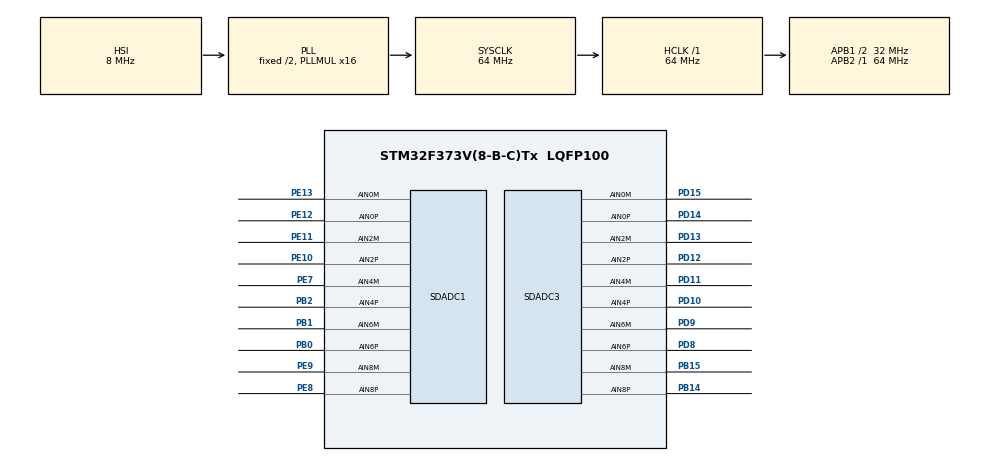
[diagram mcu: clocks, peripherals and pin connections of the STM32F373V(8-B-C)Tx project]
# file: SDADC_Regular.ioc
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FREERTOS.Tasks01=defaultTask,0,128,StartDefaultTask,Default,NULL,Dynamic,NULL,NULL
Mcu.Family=STM32F3
Mcu.Name=STM32F373V(8-B-C)Tx
Mcu.Package=LQFP100
NVIC.PriorityGroup=NVIC_PRIORITYGROUP_4
PA13.Mode=Serial_Wire
PA13.Signal=SYS_JTMS-SWDIO
PA14.Mode=Serial_Wire
PA14.Signal=SYS_JTCK-SWCLK
PB0.Mode=IN6-Differential
PB0.Signal=SDADC1_AIN6P
PB1.Mode=IN6-Differential
PB1.Signal=SDADC1_AIN6M
PB14.Mode=IN8-Differential
PB14.Signal=SDADC3_AIN8P
PB15.Mode=IN8-Differential
PB15.Signal=SDADC3_AIN8M
PB2.Mode=IN4-Differential
PB2.Signal=SDADC1_AIN4P
PD10.Mode=IN4-Differential
PD10.Signal=SDADC3_AIN4P
PD11.Mode=IN4-Differential
PD11.Signal=SDADC3_AIN4M
PD12.Mode=IN2-Differential
PD12.Signal=SDADC3_AIN2P
PD13.Mode=IN2-Differential
PD13.Signal=SDADC3_AIN2M
PD14.Mode=IN0-Differential
PD14.Signal=SDADC3_AIN0P
PD15.Mode=IN0-Differential
PD15.Signal=SDADC3_AIN0M
PD8.Mode=IN6-Differential
PD8.Signal=SDADC3_AIN6P
PD9.Mode=IN6-Differential
PD9.Signal=SDADC3_AIN6M
PE10.Mode=IN2-Differential
PE10.Signal=SDADC1_AIN2P
PE11.Mode=IN2-Differential
PE11.Signal=SDADC1_AIN2M
PE12.Mode=IN0-Differential
PE12.Signal=SDADC1_AIN0P
PE13.Mode=IN0-Differential
PE13.Signal=SDADC1_AIN0M
PE7.Mode=IN4-Differential
PE7.Signal=SDADC1_AIN4M
PE8.Mode=IN8-Differential
PE8.Signal=SDADC1_AIN8P
PE9.Mode=IN8-Differential
PE9.Signal=SDADC1_AIN8M
ProjectManager.HeapSize=0x200
ProjectManager.StackSize=0x400
ProjectManager.TargetToolchain=STM32CubeIDE
RCC.AHBFreq_Value=64000000
RCC.APB1CLKDivider=RCC_HCLK_DIV2
RCC.APB1Freq_Value=32000000
RCC.APB1TimFreq_Value=64000000
RCC.APB2Freq_Value=64000000
RCC.APB2TimFreq_Value=64000000
RCC.CortexFreq_Value=64000000
RCC.HCLKFreq_Value=64000000
RCC.HSE_VALUE=8000000
RCC.HSI_VALUE=8000000
RCC.LSE_VALUE=32768
RCC.PLLMUL=RCC_PLL_MUL16
RCC.SDADCPresc=RCC_SDADCSYSCLK_DIV16
RCC.SYSCLKFreq_VALUE=64000000
RCC.SYSCLKSource=RCC_SYSCLKSOURCE_PLLCLK
RCC.USBFreq_Value=64000000
SDADC1.ContinuousMode=SDADC_CONTINUOUS_CONV_ON
SDADC1.EnableRegularconversion=ENABLE
SDADC1.NbrOfConversionFlag=1
SDADC3.EnableRegularconversion=ENABLE
SDADC3.NbrOfConversionFlag=1
VP_FREERTOS_VS_CMSIS_V1.Mode=CMSIS_V1
VP_SDADC1_CONF0.Mode=ConfigZero
VP_SDADC3_CONF0.Mode=ConfigZero
board=custom

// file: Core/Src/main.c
/* USER CODE BEGIN Header */
/**
  ******************************************************************************
  * @file           : main.c
  * @brief          : Main program body
  ******************************************************************************
  * @attention
  *
  * <h2><center>&copy; Copyright (c) 2020 STMicroelectronics.
  * All rights reserved.</center></h2>
  *
  * This software component is licensed by ST under BSD 3-Clause license,
  * the "License"; You may not use this file except in compliance with the
  * License. You may obtain a copy of the License at:
  *                        opensource.org/licenses/BSD-3-Clause
  *
  ******************************************************************************
  */
/* USER CODE END Header */
#include "main.h"
#include "cmsis_os.h"
#include "sdadc.h"
#include "gpio.h"

void SystemClock_Config(void);
void MX_FREERTOS_Init(void);

int main(void)
{

  /* MCU Configuration--------------------------------------------------------*/

  /* Reset of all peripherals, Initializes the Flash interface and the Systick. */
  HAL_Init();

  /* Configure the system clock */
  SystemClock_Config();

  /* Initialize all configured peripherals */
  MX_GPIO_Init();
  MX_SDADC1_Init();
  MX_SDADC3_Init();

  /* Call init function for freertos objects (in freertos.c) */
  MX_FREERTOS_Init();
  /* Start scheduler */
  osKernelStart();

  /* We should never get here as control is now taken by the scheduler */
  /* Infinite loop */
  while (1)
  {

  }
}

void SystemClock_Config(void)
{
  RCC_OscInitTypeDef RCC_OscInitStruct = {0};
  RCC_ClkInitTypeDef RCC_ClkInitStruct = {0};
  RCC_PeriphCLKInitTypeDef PeriphClkInit = {0};

  /** Initializes the RCC Oscillators according to the specified parameters
  * in the RCC_OscInitTypeDef structure.
  */
  RCC_OscInitStruct.OscillatorType = RCC_OSCILLATORTYPE_HSI;
  RCC_OscInitStruct.HSIState = RCC_HSI_ON;
  RCC_OscInitStruct.HSICalibrationValue = RCC_HSICALIBRATION_DEFAULT;
  RCC_OscInitStruct.PLL.PLLState = RCC_PLL_ON;
  RCC_OscInitStruct.PLL.PLLSource = RCC_PLLSOURCE_HSI;
  RCC_OscInitStruct.PLL.PLLMUL = RCC_PLL_MUL16;
  if (HAL_RCC_OscConfig(&RCC_OscInitStruct) != HAL_OK)
  {
    Error_Handler();
  }
  /** Initializes the CPU, AHB and APB buses clocks
  */
  RCC_ClkInitStruct.ClockType = RCC_CLOCKTYPE_HCLK|RCC_CLOCKTYPE_SYSCLK
                              |RCC_CLOCKTYPE_PCLK1|RCC_CLOCKTYPE_PCLK2;
  RCC_ClkInitStruct.SYSCLKSource = RCC_SYSCLKSOURCE_PLLCLK;
  RCC_ClkInitStruct.AHBCLKDivider = RCC_SYSCLK_DIV1;
  RCC_ClkInitStruct.APB1CLKDivider = RCC_HCLK_DIV2;
  RCC_ClkInitStruct.APB2CLKDivider = RCC_HCLK_DIV1;

  if (HAL_RCC_ClockConfig(&RCC_ClkInitStruct, FLASH_LATENCY_2) != HAL_OK)
  {
    Error_Handler();
  }
  PeriphClkInit.PeriphClockSelection = RCC_PERIPHCLK_SDADC;
  PeriphClkInit.SdadcClockSelection = RCC_SDADCSYSCLK_DIV16;
  if (HAL_RCCEx_PeriphCLKConfig(&PeriphClkInit) != HAL_OK)
  {
    Error_Handler();
  }
  HAL_PWREx_EnableSDADC(PWR_SDADC_ANALOG1);
  HAL_PWREx_EnableSDADC(PWR_SDADC_ANALOG3);
}

void Error_Handler(void)
{
}

/************************ (C) COPYRIGHT STMicroelectronics *****END OF FILE****/

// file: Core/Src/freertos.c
/* USER CODE BEGIN Header */
/**
  ******************************************************************************
  * File Name          : freertos.c
  * Description        : Code for freertos applications
  ******************************************************************************
  * @attention
  *
  * <h2><center>&copy; Copyright (c) 2020 STMicroelectronics.
  * All rights reserved.</center></h2>
  *
  * This software component is licensed by ST under Ultimate Liberty license
  * SLA0044, the "License"; You may not use this file except in compliance with
  * the License. You may obtain a copy of the License at:
  *                             www.st.com/SLA0044
  *
  ******************************************************************************
  */
/* USER CODE END Header */

#include "FreeRTOS.h"
#include "task.h"
#include "main.h"
#include "cmsis_os.h"

/* USER CODE BEGIN Includes */
#include "sdadc.h"
/* USER CODE END Includes */

osThreadId defaultTaskHandle;

void StartDefaultTask(void const * argument);

void MX_FREERTOS_Init(void); /* (MISRA C 2004 rule 8.1) */

/* GetIdleTaskMemory prototype (linked to static allocation support) */
void vApplicationGetIdleTaskMemory( StaticTask_t **ppxIdleTaskTCBBuffer, StackType_t **ppxIdleTaskStackBuffer, uint32_t *pulIdleTaskStackSize );

/* USER CODE BEGIN GET_IDLE_TASK_MEMORY */
static StaticTask_t xIdleTaskTCBBuffer;
static StackType_t xIdleStack[configMINIMAL_STACK_SIZE];

void vApplicationGetIdleTaskMemory( StaticTask_t **ppxIdleTaskTCBBuffer, StackType_t **ppxIdleTaskStackBuffer, uint32_t *pulIdleTaskStackSize )
{
  *ppxIdleTaskTCBBuffer = &xIdleTaskTCBBuffer;
  *ppxIdleTaskStackBuffer = &xIdleStack[0];
  *pulIdleTaskStackSize = configMINIMAL_STACK_SIZE;
  /* place for user code */
}
/* USER CODE END GET_IDLE_TASK_MEMORY */

void MX_FREERTOS_Init(void) {

  /* Create the thread(s) */
  /* definition and creation of defaultTask */
  osThreadDef(defaultTask, StartDefaultTask, osPriorityNormal, 0, 128);
  defaultTaskHandle = osThreadCreate(osThread(defaultTask), NULL);

}

/* USER CODE BEGIN Header_StartDefaultTask */
volatile uint32_t SDADC_Value[10];
/**
  * @brief  Function implementing the defaultTask thread.
  * @param  argument: Not used
  * @retval None
  */
/* USER CODE END Header_StartDefaultTask */
void StartDefaultTask(void const * argument)
{
  /* USER CODE BEGIN StartDefaultTask */
  /* Infinite loop */
  for(;;)
  {
	  //read SDADC1 Channel6
	HAL_SDADC_ConfigChannel(&hsdadc1,SDADC_CHANNEL_6,SDADC_CONTINUOUS_CONV_OFF);// set channel
	HAL_SDADC_Start(&hsdadc1);//start sdadc
	if(HAL_SDADC_PollForConversion(&hsdadc1,HAL_MAX_DELAY)==HAL_OK)//waiting for convert complete
	{
		SDADC_Value[0] = HAL_SDADC_GetValue(&hsdadc1);// read the value of sdadc
		HAL_SDADC_Stop(&hsdadc1);
	}

	  //read SDADC1 Channel8
	HAL_SDADC_ConfigChannel(&hsdadc1,SDADC_CHANNEL_8,SDADC_CONTINUOUS_CONV_OFF);
	HAL_SDADC_Start(&hsdadc1);
	if(HAL_SDADC_PollForConversion(&hsdadc1,HAL_MAX_DELAY)==HAL_OK)
	{
		SDADC_Value[1] = HAL_SDADC_GetValue(&hsdadc1);
		HAL_SDADC_Stop(&hsdadc1);
	}

	  //read SDADC3 Channel0
	HAL_SDADC_ConfigChannel(&hsdadc3,SDADC_CHANNEL_0,SDADC_CONTINUOUS_CONV_OFF);
	HAL_SDADC_Start(&hsdadc3);
	if(HAL_SDADC_PollForConversion(&hsdadc3,HAL_MAX_DELAY)==HAL_OK)
	{
		SDADC_Value[2] = HAL_SDADC_GetValue(&hsdadc3);
		HAL_SDADC_Stop(&hsdadc3);
	}
    osDelay(1);
  }
  /* USER CODE END StartDefaultTask */
}

/************************ (C) COPYRIGHT STMicroelectronics *****END OF FILE****/
